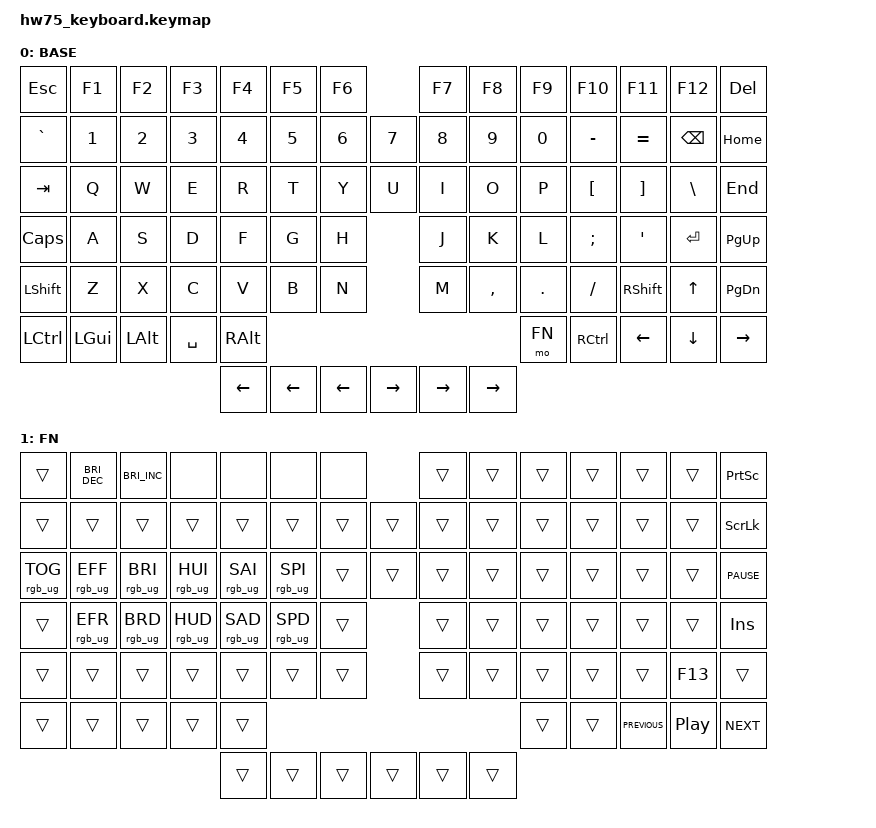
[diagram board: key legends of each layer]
/*
 * Copyright (c) 2022 The ZMK Contributors
 * SPDX-License-Identifier: MIT
 */

#include <behaviors.dtsi>
#include <dt-bindings/zmk/keys.h>
#include <dt-bindings/zmk/rgb.h>

#define BASE 0
#define FN 1

/ {
    keymap {
        compatible = "zmk,keymap";

        base {
            label = "BASE";
            bindings = <
  &kp ESC              &kp F1  &kp F2    &kp F3    &kp F4     &kp F5     &kp F6     &kp F7     &kp F8    &kp F9    &kp F10    &kp F11   &kp F12  &kp DELETE
&kp GRAVE    &kp N1    &kp N2  &kp N3    &kp N4    &kp N5     &kp N6     &kp N7     &kp N8     &kp N9    &kp N0  &kp MINUS  &kp EQUAL  &kp BSPC    &kp HOME
  &kp TAB     &kp Q     &kp W   &kp E     &kp R     &kp T      &kp Y      &kp U      &kp I      &kp O     &kp P   &kp LBKT   &kp RBKT  &kp BSLH     &kp END
 &kp CLCK     &kp A     &kp S   &kp D     &kp F     &kp G      &kp H      &kp J      &kp K      &kp L  &kp SEMI    &kp SQT              &kp RET   &kp PG_UP
&kp LSHFT               &kp Z   &kp X     &kp C     &kp V      &kp B      &kp N      &kp M  &kp COMMA   &kp DOT   &kp FSLH  &kp RSHFT    &kp UP   &kp PG_DN
&kp LCTRL  &kp LGUI  &kp LALT                              &kp SPACE                         &kp RALT    &mo FN  &kp RCTRL   &kp LEFT  &kp DOWN   &kp RIGHT
                                       &kp LEFT  &kp LEFT   &kp LEFT  &kp RIGHT  &kp RIGHT  &kp RIGHT
            >;
        };

        fn {
            label = "FN";
            bindings = <
         &trans                     &kp C_BRI_DEC    &kp C_BRI_INC            &none            &none   &none   &none  &trans  &trans  &trans  &trans          &trans            &trans  &kp PRINTSCREEN
         &trans           &trans           &trans           &trans           &trans           &trans  &trans  &trans  &trans  &trans  &trans  &trans          &trans            &trans   &kp SCROLLLOCK
&rgb_ug RGB_TOG  &rgb_ug RGB_EFF  &rgb_ug RGB_BRI  &rgb_ug RGB_HUI  &rgb_ug RGB_SAI  &rgb_ug RGB_SPI  &trans  &trans  &trans  &trans  &trans  &trans          &trans            &trans      &kp C_PAUSE
         &trans  &rgb_ug RGB_EFR  &rgb_ug RGB_BRD  &rgb_ug RGB_HUD  &rgb_ug RGB_SAD  &rgb_ug RGB_SPD  &trans  &trans  &trans  &trans  &trans  &trans                            &trans          &kp INS
         &trans                            &trans           &trans           &trans           &trans  &trans  &trans  &trans  &trans  &trans  &trans          &trans           &kp F13           &trans
         &trans           &trans           &trans                                                     &trans                  &trans  &trans  &trans  &kp C_PREVIOUS  &kp C_PLAY_PAUSE       &kp C_NEXT
                                                                             &trans           &trans  &trans  &trans  &trans  &trans
            >;
        };
    };
};
